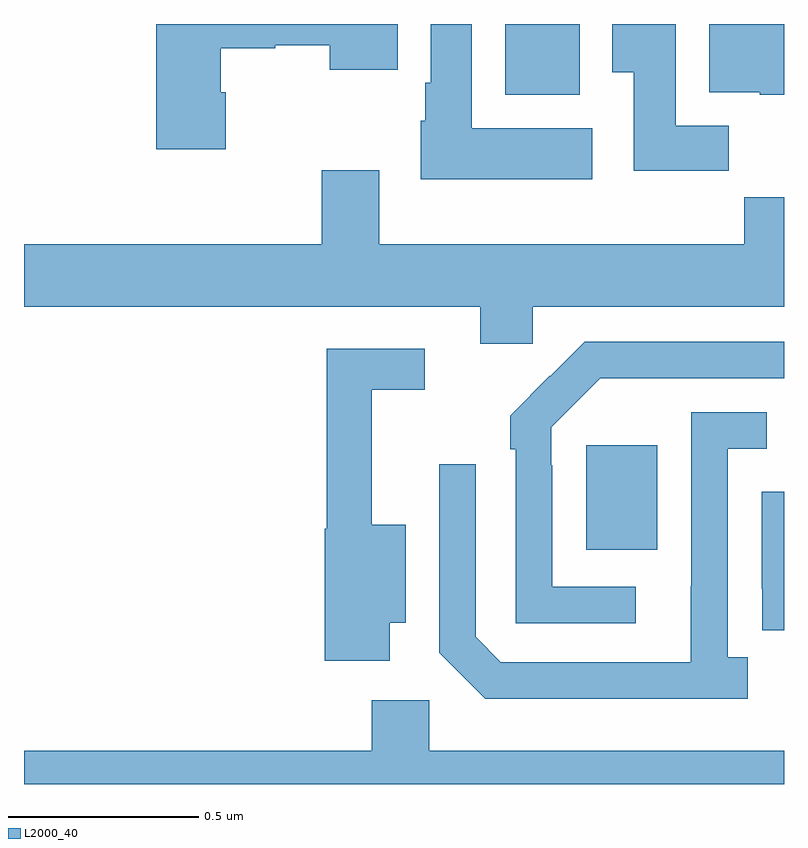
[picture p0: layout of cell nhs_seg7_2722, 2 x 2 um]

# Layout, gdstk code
import gdstk
lib = gdstk.Library(unit=1e-6, precision=1e-09)
def R(c, l, rs):  # rectangles x0, y0, x1, y1
    for r in rs: c.add(gdstk.rectangle(r[:2], r[2:], *l))
def P(c, l, *ps):  # polygons
    for p in ps: c.add(gdstk.Polygon(p, *l))
L2000_40 = (2000, 40)

nhs_seg7_2722 = lib.new_cell('nhs_seg7_2722')
R(nhs_seg7_2722, L2000_40, [(150.479,1026.617,150.667,1026.892), (150.267,1027.814,150.463,1028)])
P(nhs_seg7_2722, L2000_40, [(151,1028),(150.803,1028),(150.803,1027.82),(150.936,1027.82),(150.936,1027.814),(151,1027.814)],
  [(150.496,1027.726),(150.178,1027.726),(150.178,1028),(150.071,1028),(150.071,1027.846),(150.056,1027.846),(150.056,1027.746),(150.044,1027.746),(150.044,1027.592),(150.496,1027.592)],
  [(150.854,1027.732),(150.715,1027.732),(150.715,1028),(150.548,1028),(150.548,1027.873),(150.605,1027.873),(150.605,1027.614),(150.854,1027.614)],
  [(149.531,1027.821),(149.518,1027.821),(149.518,1027.936),(149.661,1027.936),(149.661,1027.944),(149.804,1027.944),(149.804,1027.88),(149.983,1027.88),(149.983,1028),(149.348,1028),(149.348,1027.671),(149.531,1027.671)],
  [(150.339,1027.256),(151,1027.256),(151,1027.544),(150.895,1027.544),(150.895,1027.42),(149.935,1027.42),(149.935,1027.615),(149.783,1027.615),(149.783,1027.42),(149,1027.42),(149,1027.256),(150.2,1027.256),(150.2,1027.158),(150.339,1027.158)],
  [(150.61,1026.519),(150.39,1026.519),(150.39,1026.839),(150.387,1026.839),(150.387,1026.939),(150.516,1027.068),(151,1027.068),(151,1027.164),(150.476,1027.164),(150.385,1027.073),(150.384,1027.074),(150.279,1026.969),(150.279,1026.881),(150.294,1026.881),(150.294,1026.423),(150.61,1026.423)],
  [(149.962,1026.425),(150.004,1026.425),(150.004,1026.682),(149.915,1026.682),(149.915,1027.038),(150.055,1027.038),(150.055,1027.146),(149.797,1027.146),(149.797,1026.672),(149.792,1026.672),(149.792,1026.324),(149.962,1026.324)],
  [(150.904,1026.334),(150.852,1026.334),(150.852,1026.882),(150.955,1026.882),(150.955,1026.978),(150.756,1026.978),(150.756,1026.521),(150.755,1026.521),(150.755,1026.321),(150.255,1026.321),(150.189,1026.387),(150.189,1026.841),(150.093,1026.841),(150.093,1026.345),(150.214,1026.224),(150.904,1026.224)],
  [(151,1026.769),(150.942,1026.769),(150.942,1026.514),(150.943,1026.514),(150.943,1026.405),(151,1026.405)],
  [(151,1026.088),(150.066,1026.088),(150.066,1026.22),(149.915,1026.22),(149.915,1026.088),(149,1026.088),(149,1026),(151,1026)])

lib.write_gds('nhs_seg7_2722.gds')
